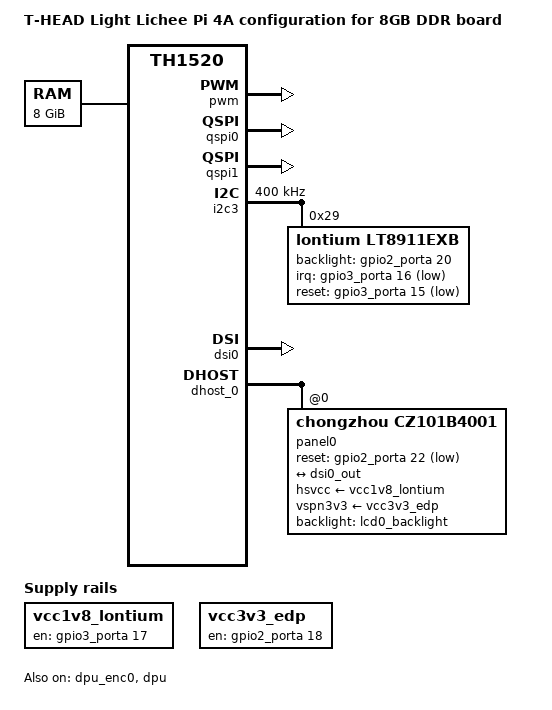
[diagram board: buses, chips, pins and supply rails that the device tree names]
/* SPDX-License-Identifier: GPL-2.0 */
/*
 * Copyright (C) 2022 Alibaba Group Holding Limited.
 */

#include "th1520-lpi4a.dtsi"

/ {
	model = "T-HEAD Light Lichee Pi 4A configuration for 8GB DDR board";
	compatible = "thead,light-val", "thead,light-lpi4a", "thead,light";

	memory@0 {
		device_type = "memory";
		reg = <0x0 0x00000000 0x2 0x00000000>;
	};

	vcc1v8_lontium: vcc1v8-lontium {
		compatible = "regulator-fixed";
		enable-active-high;
		gpio = <&gpio3_porta 17 GPIO_ACTIVE_HIGH>;
		pinctrl-names = "default";
		pinctrl-0 = <&vcc1v8_lontium_pwren>;
		regulator-name = "vcc1v8_lontium_pwren";
		regulator-boot-on;
		regulator-always-on;
	};

	vcc3v3_edp: vcc3v3-edp {
		compatible = "regulator-fixed";
		enable-active-high;
		gpio = <&gpio2_porta 18 GPIO_ACTIVE_HIGH>;
		pinctrl-names = "default";
		pinctrl-0 = <&vcc3v3_edp_pwren>;
		regulator-name = "vcc3v3_edp_pwren";
		regulator-boot-on;
		regulator-always-on;
	};
};

&cmamem {
	alloc-ranges = <0x1 0xe4000000 0 0x14000000>; // [0x1E400_0000 ~ 0x1F800_0000]
};

&pwm {
	status = "okay";
};

&qspi0 {
	status = "okay";
};

&qspi1 {
	status = "okay";
};

&i2c3 {
	clock-frequency = <400000>;
	status = "okay";
	pinctrl-names = "default";
	pinctrl-0 = <&pinctrl_i2c3>;

	lt8911exb@29 {
		status = "okay";
		compatible = "lontium,lt8911exb";
		reg = <0x29>;
		lt8911exb,backlight-gpio = <&gpio2_porta 20 GPIO_ACTIVE_HIGH>;
		lt8911exb,irq-gpio = <&gpio3_porta 16 GPIO_ACTIVE_LOW>;
		lt8911exb,reset-gpio = <&gpio3_porta 15 GPIO_ACTIVE_LOW>;
		lt8911exb,rst-delay-ms = <100>;
		lt8911exb,edp-lane-cnt = <2>;
		lt8911exb,mipi-lane-cnt = <4>;
		lt8911exb,edp-depth = <8>; /* 6 or 8 */
		pinctrl-names = "default";
		pinctrl-0 = <&lt8911exb_gpios>;
	};
};

&dpu_enc0 {
       status = "okay";

       ports {
               /* output */
               port@1 {
                       reg = <1>;

                       enc0_out: endpoint {
                               remote-endpoint = <&dsi0_in>;
                       };
               };
       };
};

&dpu_enc1 {
        ports {
                /delete-node/ port@0;
        };
};

&dpu {
        status = "okay";
};

&dsi0 {
        status = "okay";
};

&dhost_0 {
	panel0@0 {
		compatible = "chongzhou,cz101b4001", "jadard,jd9365da-h3";
		reg = <0>;
		backlight = <&lcd0_backlight>;
		reset-gpio = <&gpio2_porta 22 GPIO_ACTIVE_LOW>; /* active low */
		hsvcc-supply = <&vcc1v8_lontium>;
		vspn3v3-supply = <&vcc3v3_edp>;
		pinctrl-names = "default";
		pinctrl-0 = <&dsi_reset_gpio>;

		port {
			panel0_in: endpoint {
				remote-endpoint = <&dsi0_out>;
			};
		};
	};
};

&padctrl0_apsys { /* right-pinctrl */
	light-evb-padctrl0 {
		/*
		 * Pin Configuration Node:
		 * Format: <pin_id mux_node config>
		 */
		pinctrl_i2c3: i2c3grp {
			thead,pins = <
				FM_I2C3_SCL	LIGHT_PIN_FUNC_0	0x204
				FM_I2C3_SDA	LIGHT_PIN_FUNC_0	0x204
			>;
		};

		lt8911exb_gpios: lt8911exb-gpios {
			thead,pins = <
				FM_GPIO2_20	LIGHT_PIN_FUNC_0	0x208
				FM_GMAC0_RXD1	LIGHT_PIN_FUNC_3	0x0
				FM_GMAC0_RXD0	LIGHT_PIN_FUNC_3	0x208
			>;
		};

		vcc1v8_lontium_pwren: vcc1v8-lontium-pwren {
			thead,pins = <
				FM_GMAC0_RXD2	LIGHT_PIN_FUNC_3	0x208
			>;
		};

		vcc3v3_edp_pwren: vcc3v3-edp-pwren {
			thead,pins = <
				FM_GPIO2_18	LIGHT_PIN_FUNC_0	0x208
			>;
		};
		dsi_reset_gpio: dsi-reset-gpio {
			thead,pins = <
				FM_GPIO2_22	LIGHT_PIN_FUNC_0	0x0
			>;
                };
	};
};
